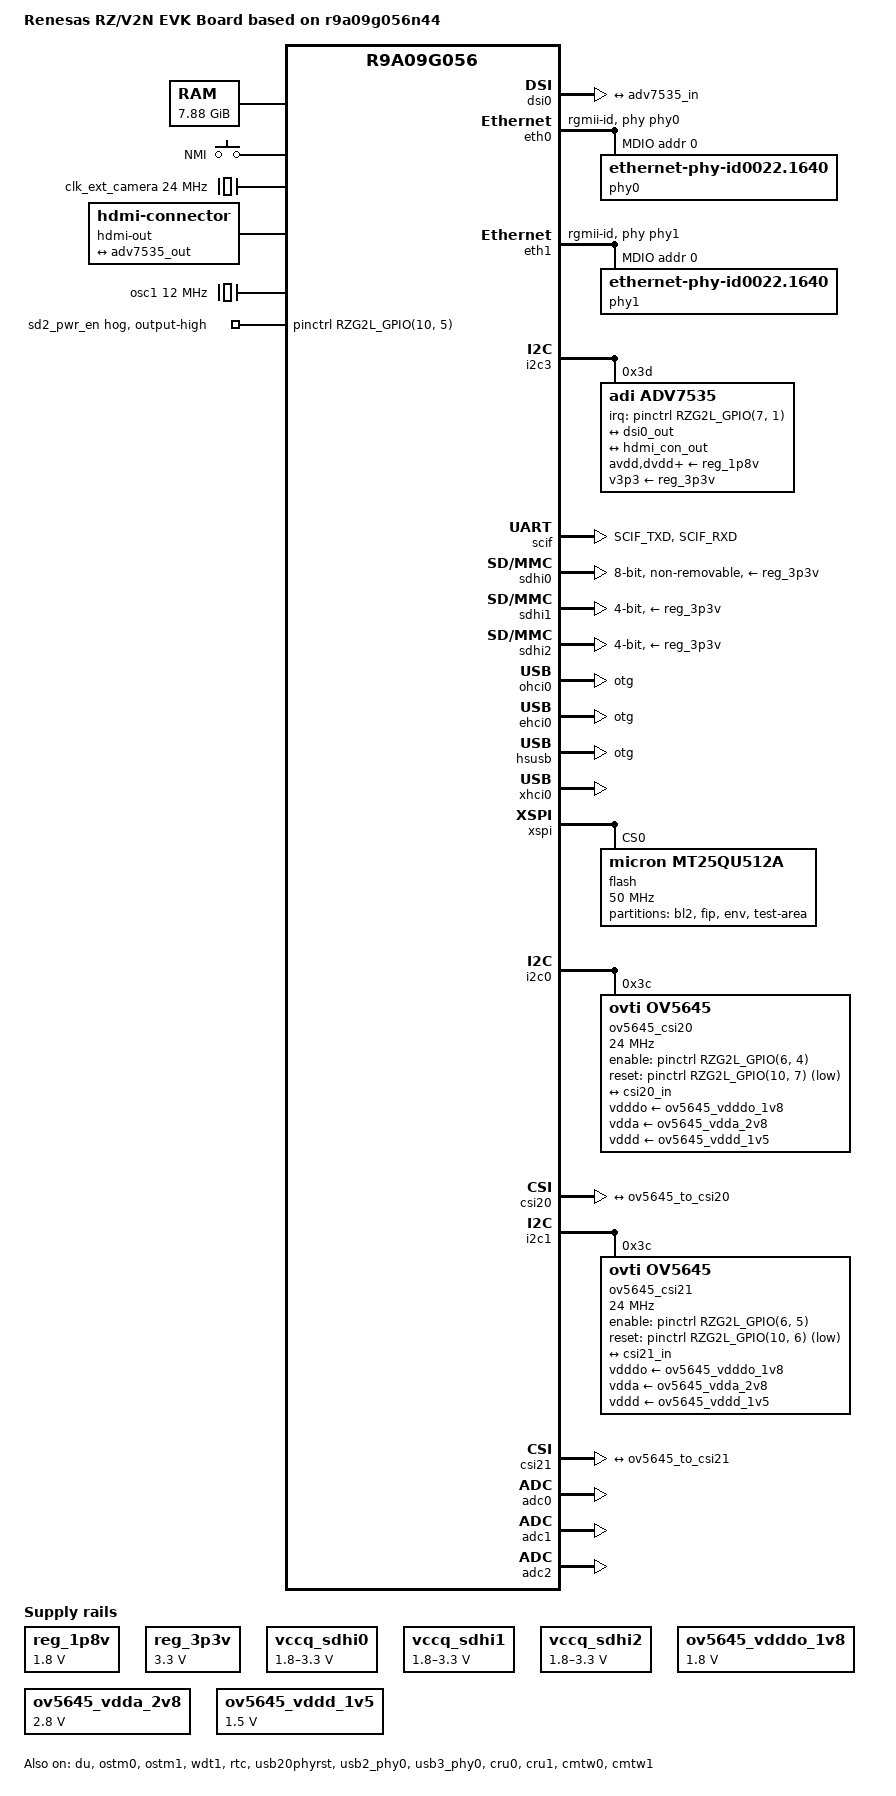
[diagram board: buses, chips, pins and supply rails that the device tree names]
// SPDX-License-Identifier: (GPL-2.0-only OR BSD-2-Clause)
/*
 * Device Tree Source for the RZ/V2N EVK board
 *
 * Copyright (C) 2024 Renesas Electronics Corp.
 */

/dts-v1/;

#include "r9a09g056.dtsi"
#include <dt-bindings/pinctrl/rzg2l-pinctrl.h>
#include <dt-bindings/gpio/gpio.h>

/*
 * Jumper setting
 *
 * Please change the jumper setting corresponding to below Macros:
 *
 * SW2 (SEL_SD0): 1: eMMC (default);	0: SD
 */
#define SEL_SD0		1

/ {
	model = "Renesas RZ/V2N EVK Board based on r9a09g056n44";
	compatible = "renesas,rzv2n-dev", "renesas,r9a09g056n44", "renesas,r9a09g056";

	aliases {
		i2c3 = &i2c3;
		serial0 = &scif;
		mmc0 = &sdhi0;
		mmc1 = &sdhi1;
		mmc2 = &sdhi2;
		ethernet0 = &eth0;
		ethernet1 = &eth1;
	};

	chosen {
		bootargs = "ignore_loglevel";
		stdout-path = "serial0:115200n8";
	};

	memory@48000000 {
		device_type = "memory";
		/* first 128MB is reserved for secure area. */
		reg = <0x0 0x48000000 0x1 0xF8000000>;
	};

	reserved-memory {
		#address-cells = <2>;
		#size-cells = <2>;
		ranges;

		global_cma: linux,cma@58000000 {
			compatible = "shared-dma-pool";
			linux,cma-default;
			reusable;
			reg = <0x0 0x58000000 0x0 0x10000000>;
		};

		mmp_reserved: linux,multimedia {
			compatible = "shared-dma-pool";
			reusable;
			reg = <0x00000000 0x68000000 0x0 0x20000000>;
		};

		isp: ISP@90000000 {
			compatible = "shared-dma-pool";
			reusable;
			reg = <0x0 0x90000000 0x0 0x18000000>;
		};

		opencva_reserved: OpenCVA@A8000000 {
			reusable;
			reg = <0x0 0xA8000000 0x0 0x7CFF000>;
		};

		shared_drp_reserved: SharedDRP@AFCFF000 {
			reusable;
			reg = <0x0 0xAFCFF000 0x0 0x00001000>;
		};

		drp_codec: DRP-Codec@AFD00000 {
			reusable;
			reg = <0x0 0xAFD00000 0x0 0x300000>;
		};

		image_buf0: image_buf@B0000000 {
			compatible = "shared-dma-pool";
			reusable;
			reg = <0x0 0xB0000000 0x0 0x4000000>;
			label = "image_buf0";
		};

		cru_func: cru_buffer@B4000000 {
			compatible = "shared-dma-pool";
			reusable;
			reg = <0x0 0xB4000000 0x0 0x16400000>;
		};

		drp_reserved: DRP-AI@D0000000 {
			reusable;
			reg = <0x0 0xD0000000 0x0 0x20000000>;
		};
	};

	reg_1p8v: regulator0 {
		compatible = "regulator-fixed";

		regulator-name = "fixed-1.8V";
		regulator-min-microvolt = <1800000>;
		regulator-max-microvolt = <1800000>;
		regulator-boot-on;
		regulator-always-on;
	};

	reg_3p3v: regulator1 {
		compatible = "regulator-fixed";

		regulator-name = "fixed-3.3V";
		regulator-min-microvolt = <3300000>;
		regulator-max-microvolt = <3300000>;
		regulator-boot-on;
		regulator-always-on;
	};

	vccq_sdhi0: regulator-vccq-sdhi0 {
		compatible = "regulator-gpio";

		regulator-name = "SDHI0 VccQ";
		regulator-min-microvolt = <1800000>;
		regulator-max-microvolt = <3300000>;

		gpios = <&pinctrl RZG2L_GPIO(10, 0) GPIO_ACTIVE_HIGH>;

		gpios-states = <0>;
		states = <3300000 0 1800000 1>;
	};

	vccq_sdhi1: regulator-vccq-sdhi1 {
		compatible = "regulator-gpio";

		regulator-name = "SDHI1 VccQ";
		regulator-min-microvolt = <1800000>;
		regulator-max-microvolt = <3300000>;

		gpios = <&pinctrl RZG2L_GPIO(10, 2) GPIO_ACTIVE_HIGH>;

		gpios-states = <0>;
		states = <3300000 0 1800000 1>;
	};

	vccq_sdhi2: regulator-vccq-sdhi2 {
		compatible = "regulator-gpio";

		regulator-name = "SDHI2 VccQ";
		regulator-min-microvolt = <1800000>;
		regulator-max-microvolt = <3300000>;

		gpios = <&pinctrl RZG2L_GPIO(10, 4) GPIO_ACTIVE_HIGH>;

		gpios-states = <0>;
		states = <3300000 0 1800000 1>;
	};

	mmngr {
		compatible = "renesas,mmngr";
		memory-region = <&mmp_reserved>;
	};

	mmngrbuf {
		compatible = "renesas,mmngrbuf";
	};

	vspm_if {
		compatible = "renesas,vspm_if";
	};

	gpio-keys {
		compatible = "gpio-keys";
		pinctrl-names = "default";

		nmi {
			interrupt-parent = <&icu>;
			interrupts = <0 IRQ_TYPE_EDGE_FALLING>;
			linux,code = <4>;
			label = "NMI";
			wakeup-source;
		};
	};

	clk_ext_camera: clk_ext_camera {
		compatible = "fixed-clock";
		#clock-cells = <0>;
		clock-frequency = <24000000>;
	};

	ov5645_vdddo_1v8: 1p8v {
		compatible = "regulator-fixed";
		regulator-name = "camera_vdddo";
		regulator-min-microvolt = <1800000>;
		regulator-max-microvolt = <1800000>;
		regulator-always-on;
	};

	ov5645_vdda_2v8: 2p8v {
		compatible = "regulator-fixed";
		regulator-name = "camera_vdda";
		regulator-min-microvolt = <2800000>;
		regulator-max-microvolt = <2800000>;
		regulator-always-on;
	};

	ov5645_vddd_1v5: 1p5v {
		compatible = "regulator-fixed";
		regulator-name = "camera_vddd";
		regulator-min-microvolt = <1500000>;
		regulator-max-microvolt = <1500000>;
		regulator-always-on;
	};

	hdmi-out {
		compatible = "hdmi-connector";
		type = "d";

		port {
			hdmi_con_out: endpoint {
				remote-endpoint = <&adv7535_out>;
			};
		};
	};

	osc1: cec-clock {
		compatible = "fixed-clock";
		#clock-cells = <0>;
		clock-frequency = <12000000>;
	};
};

&audio_extal_clk {
	clock-frequency = <22579200>;
};

&du {
	status = "okay";
};

&dsi0 {
	status = "okay";

	ports {
		port@1 {
			dsi0_out: endpoint {
				remote-endpoint = <&adv7535_in>;
				data-lanes = <1 2 3 4>;
			};
		};
	};
};

&eth0 {
	phy-handle = <&phy0>;
	phy-mode = "rgmii-id";
	status = "okay";

	mdio {
		#address-cells = <1>;
		#size-cells = <0>;
		phy0: ethernet-phy@0 {
			compatible = "ethernet-phy-id0022.1640",
				     "ethernet-phy-ieee802.3-c22";
			reg = <0>;
			rxc-skew-psec = <1400>;
			txc-skew-psec = <1400>;
			rxdv-skew-psec = <0>;
			txdv-skew-psec = <0>;
			rxd0-skew-psec = <0>;
			rxd1-skew-psec = <0>;
			rxd2-skew-psec = <0>;
			rxd3-skew-psec = <0>;
			txd0-skew-psec = <0>;
			txd1-skew-psec = <0>;
			txd2-skew-psec = <0>;
			txd3-skew-psec = <0>;
		};
	};
};

&eth1 {
	phy-handle = <&phy1>;
	phy-mode = "rgmii-id";
	status = "okay";

	mdio {
		#address-cells = <1>;
		#size-cells = <0>;
		phy1: ethernet-phy@0 {
			compatible = "ethernet-phy-id0022.1640",
				     "ethernet-phy-ieee802.3-c22";
			reg = <0>;
			rxc-skew-psec = <1400>;
			txc-skew-psec = <1400>;
			rxdv-skew-psec = <0>;
			txdv-skew-psec = <0>;
			rxd0-skew-psec = <0>;
			rxd1-skew-psec = <0>;
			rxd2-skew-psec = <0>;
			rxd3-skew-psec = <0>;
			txd0-skew-psec = <0>;
			txd1-skew-psec = <0>;
			txd2-skew-psec = <0>;
			txd3-skew-psec = <0>;
		};
	};
};

&i2c3 {
	pinctrl-0 = <&i2c3_pins>;
	pinctrl-names = "default";

	status = "okay";

	adv7535: hdmi@3d {
		compatible = "adi,adv7535";
		reg = <0x3d>;

		clocks = <&osc1>;
		clock-names = "cec";
		avdd-supply = <&reg_1p8v>;
		dvdd-supply = <&reg_1p8v>;
		pvdd-supply = <&reg_1p8v>;
		a2vdd-supply = <&reg_1p8v>;
		v3p3-supply = <&reg_3p3v>;
		v1p2-supply = <&reg_1p8v>;

		interrupt-parent = <&pinctrl>;
		interrupts = <RZG2L_GPIO(7, 1) IRQ_TYPE_LEVEL_LOW>;

		adi,dsi-lanes = <4>;

		ports {
			#address-cells = <1>;
			#size-cells = <0>;

			port@0 {
				reg = <0>;
				adv7535_in: endpoint@0 {
					remote-endpoint = <&dsi0_out>;
				};
			};

			port@1 {
				reg = <1>;
				adv7535_out: endpoint@1 {
				remote-endpoint = <&hdmi_con_out>;
				};
			};
		};
	};
};

&pinctrl {
	i2c3_pins: i2c3 {
		pinmux = <RZG2L_PORT_PINMUX(3, 6, 1)>, /* I2C3_SDA */
			 <RZG2L_PORT_PINMUX(3, 7, 1)>; /* I2C3_SCL */
	};

	scif_pins: scif {
		pins = "SCIF_TXD", "SCIF_RXD";
		renesas,output-impedance = <1>;
	};

	sd2_pwr_en {
		gpio-hog;
		gpios = <RZG2L_GPIO(10, 5) GPIO_ACTIVE_HIGH>;
		output-high;
		line-name = "sd2_pwr_en";
	};

#if (!SEL_SD0)
	/* Support pinctrl for SD function of SDHI0 */
	sdhi0_pins: sd0 {
		sd0_mux {
			pinmux = <RZG2L_PORT_PINMUX(9, 4, 15)>; /* SD0_CD */
		};
	};
#endif

	sdhi1_pins: sd1 {
		sd1_mux {
			pinmux = <RZG2L_PORT_PINMUX(10, 1, 14)>; /* SD1_CD */
		};
	};

	sdhi2_pins: sd2 {
		sd2_data {
			pinmux = <RZG2L_PORT_PINMUX(11, 1, 1)>, /* SD2_DATA0 */
				 <RZG2L_PORT_PINMUX(11, 2, 1)>, /* SD2_DATA1 */
				 <RZG2L_PORT_PINMUX(11, 3, 1)>, /* SD2_DATA2 */
				 <RZG2L_PORT_PINMUX(11, 4, 1)>; /* SD2_DATA3 */
		};

		sd2_ctrl {
			pinmux = <RZG2L_PORT_PINMUX(11, 0, 1)>, /* SD2_CLK */
				 <RZG2L_PORT_PINMUX(11, 5, 1)>; /* SD2_CMD */
		};

		sd2_mux {
			pinmux = <RZG2L_PORT_PINMUX(10, 3, 15)>; /* SD2_CD */
		};
	};

	usb20_pins: usb20 {
		pinmux = <RZG2L_PORT_PINMUX(6, 0, 15)>, /* VBUS */
			 <RZG2L_PORT_PINMUX(6, 1, 15)>; /* OVC */
	};

	usb30_pins: usb30 {
		pinmux = <RZG2L_PORT_PINMUX(8, 4, 14)>, /* VBUS */
			 <RZG2L_PORT_PINMUX(8, 5, 14)>; /* OVC */
	};

	i2c0_pins: i2c0 {
		pinmux = <RZG2L_PORT_PINMUX(3, 0, 1)>, /* I2C0_SDA */
			 <RZG2L_PORT_PINMUX(3, 1, 1)>; /* I2C0_SCL */
	};

	i2c1_pins: i2c1 {
		pinmux = <RZG2L_PORT_PINMUX(3, 2, 1)>, /* I2C1_SDA */
			 <RZG2L_PORT_PINMUX(3, 3, 1)>; /* I2C1_SCL */
	};
};

&qextal_clk {
	clock-frequency = <24000000>;
};

&rtxin_clk {
	clock-frequency = <32768>;
};

&scif {
	pinctrl-0 = <&scif_pins>;
	pinctrl-names = "default";

	status = "okay";
};

&ostm0 {
	status = "okay";
};

&ostm1 {
	status = "okay";
};

&wdt1 {
	status = "okay";
};

#if (SEL_SD0)
&sdhi0 {
	vmmc-supply = <&reg_3p3v>;
	vqmmc-supply = <&reg_1p8v>;
	bus-width = <8>;
	mmc-hs200-1_8v;
	non-removable;
	fixed-emmc-driver-type = <1>;
	status = "okay";
};
#else
&sdhi0 {
	pinctrl-0 = <&sdhi0_pins>;
	pinctrl-names = "default";

	vmmc-supply = <&reg_3p3v>;
	vqmmc-supply = <&vccq_sdhi0>;

	bus-width = <4>;
	sd-uhs-sdr50;
	sd-uhs-sdr104;
	status = "okay";
};
#endif

&sdhi1 {
	pinctrl-0 = <&sdhi1_pins>;
	pinctrl-names = "default";

	vmmc-supply = <&reg_3p3v>;
	vqmmc-supply = <&vccq_sdhi1>;

	bus-width = <4>;
	sd-uhs-sdr50;
	sd-uhs-sdr104;
	status = "okay";
};

&sdhi2 {
	pinctrl-0 = <&sdhi2_pins>;
	pinctrl-names = "default";

	vmmc-supply = <&reg_3p3v>;
	vqmmc-supply = <&vccq_sdhi2>;

	bus-width = <4>;
	sd-uhs-sdr50;
	sd-uhs-sdr104;
	status = "okay";
};

&rtc {
        status = "okay";
};

&ohci0 {
	memory-region = <&global_cma>;
	dr_mode = "otg";
	status = "okay";
};

&ehci0 {
	memory-region = <&global_cma>;
	dr_mode = "otg";
	status = "okay";
};

&hsusb {
	dr_mode = "otg";
	status = "okay";
};

&usb20phyrst {
	status = "okay";
};

&usb2_phy0 {
	pinctrl-0 = <&usb20_pins>;
	pinctrl-names = "default";
	status = "okay";
};

&usb3_phy0 {
	status = "okay";
};

&xhci0 {
	pinctrl-0 = <&usb30_pins>;
	pinctrl-names = "default";
	memory-region = <&global_cma>;
	status = "okay";
};

&xspi {
	status = "okay";

	flash@0 {
		compatible = "micron,mt25qu512a", "jedec,spi-nor";
		reg = <0>;
		m25p,fast-read;
		spi-max-frequency = <50000000>;
		spi-tx-bus-width = <4>;
		spi-rx-bus-width = <4>;

		partitions {
			compatible = "fixed-partitions";
			#address-cells = <1>;
			#size-cells = <1>;

			partition@0 {
				label = "bl2";
				reg = <0x00000000 0x0001D200>;
				read-only;
			};

			partition@1D200 {
				label = "fip";
				reg = <0x0001D200 0x001C2E00>;
				read-only;
			};

			partition@1E0000 {
				label = "env";
				reg = <0x001E0000 0x00020000>;
				read-only;
			};

			partition@200000 {
				label = "test-area";
				reg = <0x00200000 0x00E00000>;
			};
		};
	};
};

&i2c0 {
	pinctrl-0 = <&i2c0_pins>;
	pinctrl-names = "default";

	status = "okay";

	ov5645_csi20: ov5645_csi20@3c {
		compatible = "ovti,ov5645";
		reg = <0x3c>;
		clock-names = "xclk";
		clocks = <&clk_ext_camera>;
		clock-frequency = <24000000>;
		vdddo-supply = <&ov5645_vdddo_1v8>;
		vdda-supply = <&ov5645_vdda_2v8>;
		vddd-supply = <&ov5645_vddd_1v5>;
		enable-gpios = <&pinctrl RZG2L_GPIO(6, 4) GPIO_ACTIVE_HIGH>;
		/* Dummy pin for reset-gpios */
		reset-gpios = <&pinctrl RZG2L_GPIO(10, 7) GPIO_ACTIVE_LOW>;

		port {
			ov5645_to_csi20: endpoint {
				clock-lanes = <0>;
				data-lanes = <1 2>;
				remote-endpoint = <&csi20_in>;
			};
		};
	};
};

&cru0 {
	status = "okay";
};

&csi20 {
	status = "okay";
	ports {
		port {
			csi20_in: endpoint {
				clock-lanes = <0>;
				data-lanes = <1 2>;
				remote-endpoint = <&ov5645_to_csi20>;
			};
		};
	};
};

&i2c1 {
	pinctrl-0 = <&i2c1_pins>;
	pinctrl-names = "default";

	status = "okay";

	ov5645_csi21: ov5645_csi21@3c {
		compatible = "ovti,ov5645";
		reg = <0x3c>;
		clock-names = "xclk";
		clocks = <&clk_ext_camera>;
		clock-frequency = <24000000>;
		vdddo-supply = <&ov5645_vdddo_1v8>;
		vdda-supply = <&ov5645_vdda_2v8>;
		vddd-supply = <&ov5645_vddd_1v5>;
		enable-gpios = <&pinctrl RZG2L_GPIO(6, 5) GPIO_ACTIVE_HIGH>;
		/* Dummy pin for reset-gpios */
		reset-gpios = <&pinctrl RZG2L_GPIO(10, 6) GPIO_ACTIVE_LOW>;

		port {
			ov5645_to_csi21: endpoint {
				clock-lanes = <0>;
				data-lanes = <1 2>;
				remote-endpoint = <&csi21_in>;
			};
		};
	};
};

&cru1 {
	status = "okay";
};

&csi21 {
	status = "okay";
	ports {
		port {
			csi21_in: endpoint {
				clock-lanes = <0>;
				data-lanes = <1 2>;
				remote-endpoint = <&ov5645_to_csi21>;
			};
		};
	};
};

&adc0 {
	status = "okay";
};

&adc1 {
	status = "okay";
};

&adc2 {
	status = "okay";
};

&cmtw0 {
	status = "okay";
};

&cmtw1 {
	status = "okay";
};
